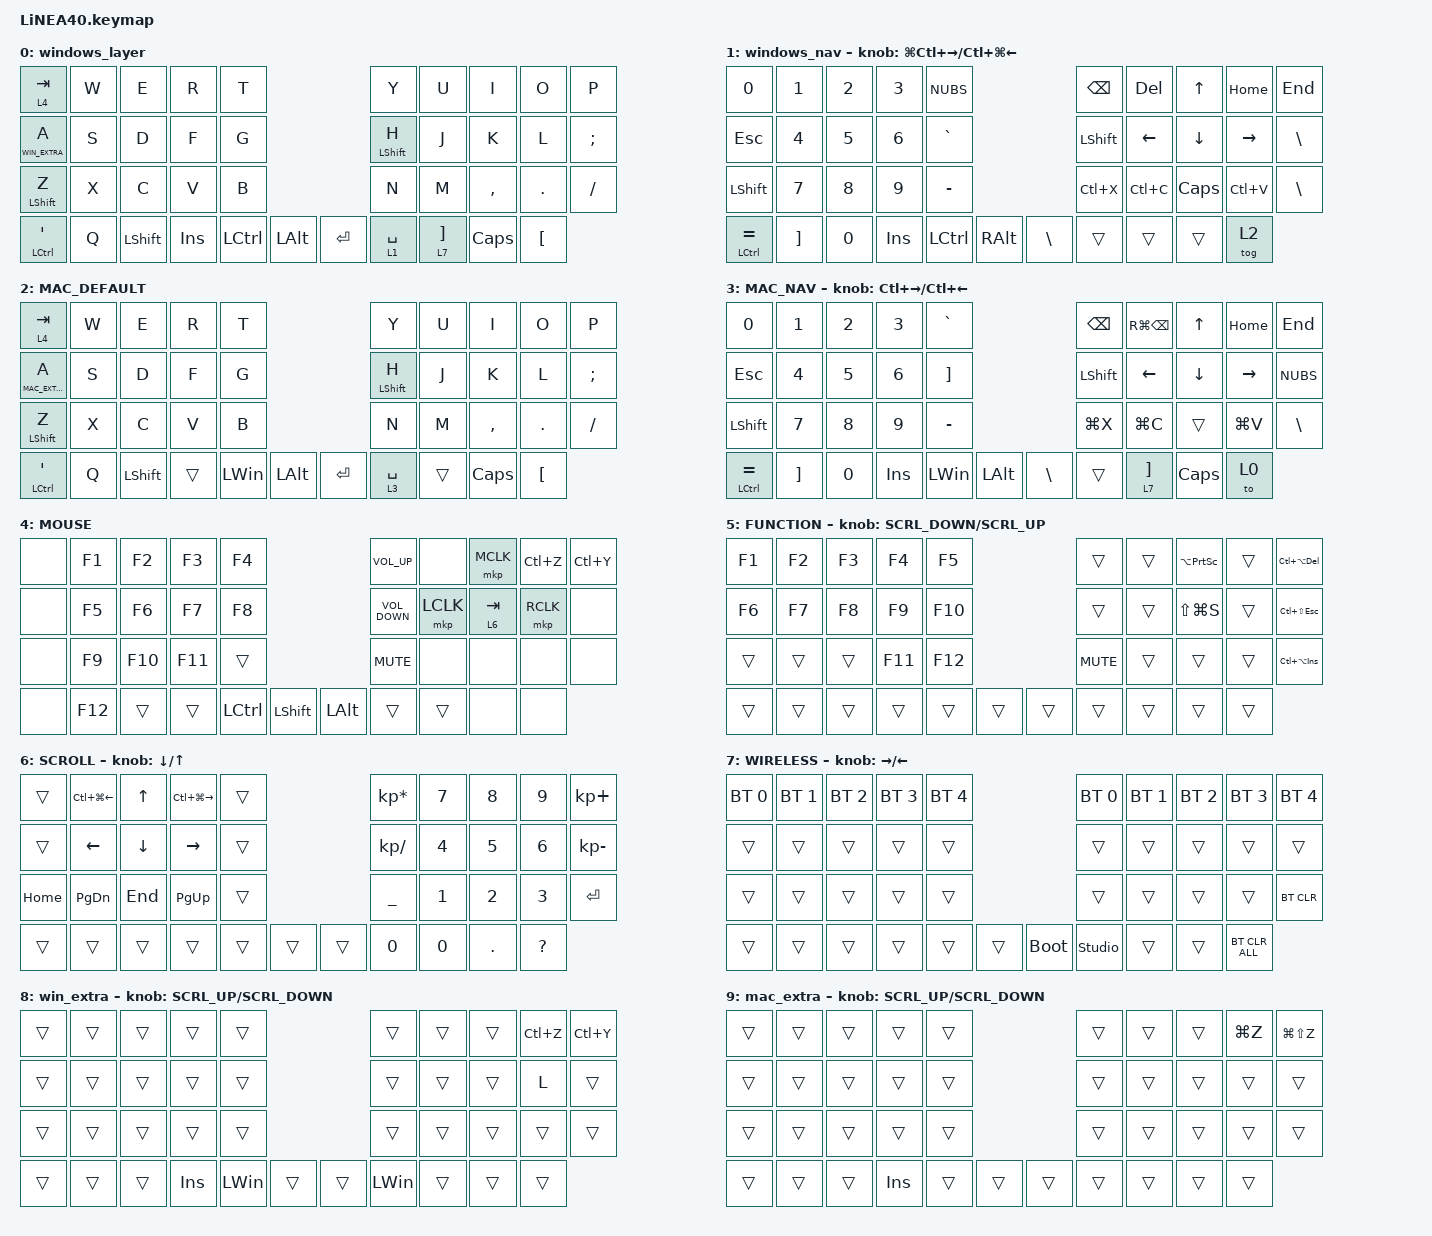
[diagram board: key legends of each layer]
#define ZMK_POINTING_DEFAULT_SCRL_VAL 150

#include <dt-bindings/zmk/input_transform.h>
#include <input/processors.dtsi>
#include <zephyr/dt-bindings/input/input-event-codes.h>
#include <behaviors.dtsi>
#include <dt-bindings/zmk/bt.h>
#include <dt-bindings/zmk/keys.h>
#include <dt-bindings/zmk/pointing.h>

// keep these in sync with the declaration order of layers below (0-indexed) after editing via keymap-editor

#define WINDOWS_NAV 1
#define MAC_DEFAULT 2
#define MAC_NAV 3
#define MOUSE 4
#define FUNCTION 5
#define SCROLL 6
#define WIRELESS 7
#define WIN_EXTRA 8
#define MAC_EXTRA 9

//mouse cursol

&mmv {
    delay-ms = <20>;
    trigger-period-ms = <5>;
    time-to-max-speed-ms = <100>;
    acceleration-exponent = <2>;
};

// mouse scroll: left at ZMK defaults (matches zmk-config-Keyball39, which doesn't override &msc) - previous custom values scrolled too fast
// resolve tap immediately on release instead of waiting on hold-preferred default

&mt {
    flavor = "tap-preferred";
    tapping-term-ms = <150>;
    quick-tap-ms = <100>;
};

/ {
    input_processors {
        zip_wheel_scaler: zip_wheel_scaler {
            compatible = "zmk,input-processor-scaler";
            #input-processor-cells = <2>;
            type = <INPUT_EV_REL>;
            codes = <INPUT_REL_WHEEL>;
            track-remainders;
        };
    };
};

&msc_input_listener {
    speed_up {
        layers = <FUNCTION>;
        input-processors = <&zip_wheel_scaler 3 1>; //スクロールを3倍速にする
    };
};

// scrolling is driven solely by the trackball's native scroll-layers = <6> property
// (see LiNEA40_right.overlay) - matches zmk-config-Keyball39, which has no extra
// input-processor chain here either. A prior zip_xy_to_scroll_mapper override on
// this same layer double-converted the same movement, compounding scroll speed.

/ {
    combos {
        compatible = "zmk,combos";

        ZenkakuHankaku {
            bindings = <&kp GRAVE>;
            key-positions = <11 12>;
            // prevent accidental fire when S+D roll during fast typing (e.g. "asd")
            require-prior-idle-ms = <150>;
        };

        DeleteKey {
            bindings = <&kp DEL>;
            key-positions = <7 8>;
        };

        InsertKey {
            bindings = <&kp INS>;
            key-positions = <6 7>;
        };

        PrevClick {
            bindings = <&mkp MB4>;
            key-positions = <27 28>;
        };

        ClickNext {
            bindings = <&mkp MB5>;
            key-positions = <26 27>;
        };
    };

    behaviors {
        re_kp: sensor_rotate_kp {
            compatible = "zmk,behavior-sensor-rotate-var";
            #sensor-binding-cells = <2>;
            bindings = <&kp>, <&kp>;
        };

        mouse_scrl: mouse_wheel_scrl {
            compatible = "zmk,behavior-sensor-rotate-var";
            #sensor-binding-cells = <2>;
            bindings = <&msc>, <&msc>;

            tap-ms = <20>;
        };

        // scoped to this key only, so Space/other layer-taps keep normal hold behavior
        // longer tapping-term (not require-prior-idle-ms) guards against incidental lingering without blocking rapid re-holds

        mouse_lt: mouse_layer_tap {
            compatible = "zmk,behavior-hold-tap";
            #binding-cells = <2>;
            flavor = "tap-preferred";
            tapping-term-ms = <300>;
            bindings = <&mo>, <&kp>;
        };
    };

    keymap {
        compatible = "zmk,keymap";

        windows_layer {
            bindings = <
&mouse_lt 4 TAB   &kp W  &kp E           &kp R   &kp T                             &kp Y             &kp U  &kp I                &kp O         &kp P
&lt WIN_EXTRA A   &kp S  &kp D           &kp F   &kp G                             &mt LEFT_SHIFT H  &kp J  &kp K                &kp L         &kp SEMICOLON
&mt LEFT_SHIFT Z  &kp X  &kp C           &kp V   &kp B                             &kp N             &kp M  &kp COMMA            &kp DOT       &kp SLASH
&mt LCTRL SQT     &kp Q  &kp LEFT_SHIFT  &kp INS &kp LCTRL  &kp LALT    &kp ENTER  &lt 1 SPACE              &lt 7 RIGHT_BRACKET  &kp CAPSLOCK  &kp LBKT
            >;
        };

        windows_nav {
            bindings = <
&kp NUMBER_0     &kp N1             &kp N2        &kp N3        &kp NUBS                                   &kp BACKSPACE   &kp DELETE      &kp UP_ARROW    &kp HOME         &kp END
&kp ESCAPE       &kp NUMBER_4       &kp NUMBER_5  &kp N6        &kp GRAVE                                  &kp LEFT_SHIFT  &kp LEFT_ARROW  &kp DOWN_ARROW  &kp RIGHT_ARROW  &kp BACKSLASH
&kp LEFT_SHIFT   &kp NUMBER_7       &kp NUMBER_8  &kp NUMBER_9  &kp MINUS                                  &kp LC(X)       &kp LC(C)       &kp CAPS        &kp LC(V)        &kp BACKSLASH
&mt LCTRL EQUAL  &kp RIGHT_BRACKET  &kp NUMBER_0  &kp INS       &kp LCTRL  &kp RIGHT_ALT    &kp BACKSLASH  &trans                          &trans          &trans           &tog 2
            >;

            sensor-bindings = <&inc_dec_kp LG(LC(RIGHT_ARROW)) LC(LG(LEFT_ARROW))>;
        };

        MAC_DEFAULT {
            bindings = <
&mouse_lt 4 TAB   &kp W  &kp E           &kp R   &kp T                                    &kp Y             &kp U  &kp I      &kp O         &kp P
&lt MAC_EXTRA A   &kp S  &kp D           &kp F   &kp G                                    &mt LEFT_SHIFT H  &kp J  &kp K      &kp L         &kp SEMICOLON
&mt LEFT_SHIFT Z  &kp X  &kp C           &kp V   &kp B                                    &kp N             &kp M  &kp COMMA  &kp DOT       &kp SLASH
&mt LCTRL SQT     &kp Q  &kp LEFT_SHIFT  &trans  &kp LEFT_WIN  &kp LEFT_ALT    &kp ENTER  &lt 3 SPACE              &trans     &kp CAPSLOCK  &kp LBKT
            >;
        };

        MAC_NAV {
            bindings = <
&kp NUMBER_0     &kp N1             &kp N2        &kp N3        &kp GRAVE                                         &kp BACKSPACE   &kp RG(BACKSPACE)  &kp UP_ARROW         &kp HOME         &kp END
&kp ESCAPE       &kp NUMBER_4       &kp NUMBER_5  &kp N6        &kp RIGHT_BRACKET                                 &kp LEFT_SHIFT  &kp LEFT_ARROW     &kp DOWN_ARROW       &kp RIGHT_ARROW  &kp NUBS
&kp LEFT_SHIFT   &kp NUMBER_7       &kp NUMBER_8  &kp NUMBER_9  &kp MINUS                                         &kp LG(X)       &kp LG(C)          &trans               &kp LG(V)        &kp BACKSLASH
&mt LCTRL EQUAL  &kp RIGHT_BRACKET  &kp NUMBER_0  &kp INS       &kp LEFT_WIN       &kp LEFT_ALT    &kp BACKSLASH  &trans                             &lt 7 RIGHT_BRACKET  &kp CAPSLOCK     &to 0
            >;

            sensor-bindings = <&inc_dec_kp LC(RIGHT) LC(LEFT)>;
        };

        MOUSE {
            bindings = <
&none  &kp F1   &kp F2   &kp F3   &kp F4                                     &kp C_VOLUME_UP    &none      &mkp MCLK  &kp LC(Z)  &kp LC(Y)
&none  &kp F5   &kp F6   &kp F7   &kp F8                                     &kp C_VOLUME_DOWN  &mkp LCLK  &lt 6 TAB  &mkp RCLK  &none
&none  &kp F9   &kp F10  &kp F11  &trans                                     &kp C_MUTE         &none      &none      &none      &none
&none  &kp F12  &trans   &trans   &kp LCTRL  &kp LEFT_SHIFT    &kp LEFT_ALT  &trans                        &trans     &none      &none
            >;
        };

        FUNCTION {
            bindings = <
&kp F1  &kp F2  &kp F3  &kp F4   &kp F5                     &trans      &trans  &kp LA(PRINTSCREEN)  &trans  &kp LC(LA(DELETE))
&kp F6  &kp F7  &kp F8  &kp F9   &kp F10                    &trans      &trans  &kp LS(LG(S))        &trans  &kp LC(LS(ESCAPE))
&trans  &trans  &trans  &kp F11  &kp F12                    &kp C_MUTE  &trans  &trans               &trans  &kp LC(LA(INS))
&trans  &trans  &trans  &trans   &trans   &trans    &trans  &trans              &trans               &trans  &trans
            >;

            sensor-bindings = <&mouse_scrl SCRL_DOWN SCRL_UP>;
        };

        SCROLL {
            bindings = <
&trans    &kp LC(LG(LEFT_ARROW))  &kp UP_ARROW  &kp LC(LG(RIGHT_ARROW))  &trans                    &kp KP_MULTIPLY  &kp NUMBER_7  &kp NUMBER_8  &kp NUMBER_9  &kp KP_PLUS
&trans    &kp LEFT_ARROW          &kp DOWN      &kp RIGHT_ARROW          &trans                    &kp KP_SLASH     &kp NUMBER_4  &kp NUMBER_5  &kp NUMBER_6  &kp KP_MINUS
&kp HOME  &kp PAGE_DOWN           &kp END       &kp PAGE_UP              &trans                    &kp UNDER        &kp NUMBER_1  &kp NUMBER_2  &kp NUMBER_3  &kp ENTER
&trans    &trans                  &trans        &trans                   &trans  &trans    &trans  &kp NUMBER_0                   &kp NUMBER_0  &kp DOT       &kp QUESTION
            >;

            sensor-bindings = <&inc_dec_kp DOWN_ARROW UP_ARROW>;
        };

        WIRELESS {
            bindings = <
&bt BT_SEL 0  &bt BT_SEL 1  &bt BT_SEL 2  &bt BT_SEL 3  &bt BT_SEL 4                         &bt BT_SEL 0    &bt BT_SEL 1  &bt BT_SEL 2  &bt BT_SEL 3  &bt BT_SEL 4
&trans        &trans        &trans        &trans        &trans                               &trans          &trans        &trans        &trans        &trans
&trans        &trans        &trans        &trans        &trans                               &trans          &trans        &trans        &trans        &bt BT_CLR
&trans        &trans        &trans        &trans        &trans        &trans    &bootloader  &studio_unlock                &trans        &trans        &bt BT_CLR_ALL
            >;

            sensor-bindings = <&inc_dec_kp RIGHT_ARROW LEFT_ARROW>;
        };

        win_extra {
            bindings = <
&trans  &trans  &trans  &trans   &trans                          &trans        &trans  &trans  &kp LC(Z)  &kp LC(Y)
&trans  &trans  &trans  &trans   &trans                          &trans        &trans  &trans  &kp L      &trans
&trans  &trans  &trans  &trans   &trans                          &trans        &trans  &trans  &trans     &trans
&trans  &trans  &trans  &kp INS  &kp LEFT_WIN  &trans    &trans  &kp LEFT_WIN          &trans  &trans     &trans
            >;

            sensor-bindings = <&mouse_scrl SCRL_UP SCRL_DOWN>;
        };

        mac_extra {
            bindings = <
&trans  &trans  &trans  &trans   &trans                    &trans  &trans  &trans  &kp LG(Z)  &kp LG(LS(Z))
&trans  &trans  &trans  &trans   &trans                    &trans  &trans  &trans  &trans     &trans
&trans  &trans  &trans  &trans   &trans                    &trans  &trans  &trans  &trans     &trans
&trans  &trans  &trans  &kp INS  &trans  &trans    &trans  &trans          &trans  &trans     &trans
            >;

            sensor-bindings = <&mouse_scrl SCRL_UP SCRL_DOWN>;
        };
    };
};
